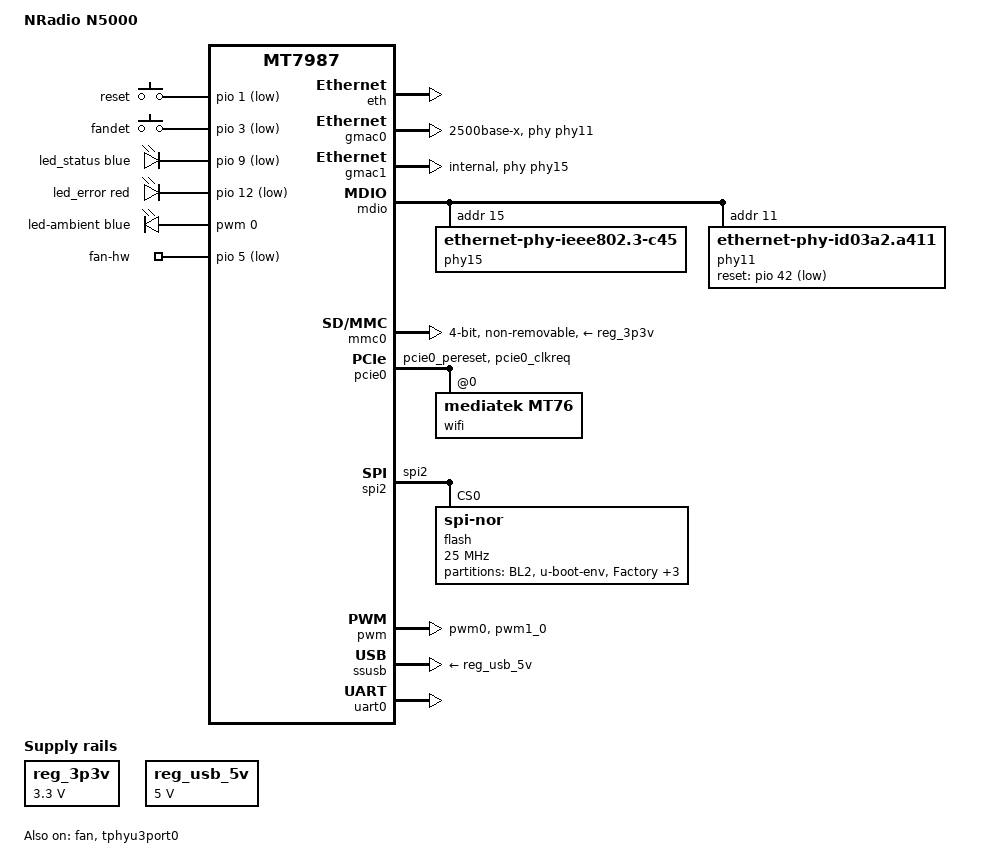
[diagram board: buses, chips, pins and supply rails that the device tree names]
// SPDX-License-Identifier: (GPL-2.0 OR MIT)
// NRadio N5000 (HC-WT9504) on official OpenWrt (MT7987A + MT7992 BE5040).
// Pinout cross-verified against the factory NROS-2.3.9.n0.c1 board DTB
// (compatible HCMT7987-SNSD): EN8811H 2.5G PHY on gmac0 as LAN/ODU, internal
// 2.5G PHY on gmac1 as WAN, PCIe Wi-Fi reset, SD pinmux, fan power/PWM,
// status/error LEDs and the fandet presence key.
// Factory image area is kept opaque ("factory-firmware") so the TF rootdisk
// remains the only writable overlay.

/dts-v1/;
#include "mt7987a.dtsi"
#include <dt-bindings/gpio/gpio.h>
#include <dt-bindings/input/input.h>
#include <dt-bindings/leds/common.h>

/ {
	model = "NRadio N5000";
	compatible = "nradio,n5000", "mediatek,mt7987a", "mediatek,mt7987";

	aliases {
		serial0 = &uart0;
		mmc0 = &mmc0;
		led-boot = &led_status;
		led-failsafe = &led_error;
		led-running = &led_status;
		led-upgrade = &led_status;
	};

	chosen {
		bootargs = "console=ttyS0,115200n1 earlycon=uart8250,mmio32,0x11000000 pci=pcie_bus_perf root=PARTLABEL=rootfs rootwait rootfstype=squashfs,f2fs";
		stdout-path = "serial0:115200n8";
	};

	gpio-keys {
		compatible = "gpio-keys";

		reset {
			label = "reset";
			linux,code = <KEY_RESTART>;
			gpios = <&pio 1 GPIO_ACTIVE_LOW>;
			debounce-interval = <10>;
		};

		fandet {
			label = "fandet";
			linux,code = <KEY_CONFIG>;
			gpios = <&pio 3 GPIO_ACTIVE_LOW>;
			debounce-interval = <10>;
		};
	};

	leds {
		compatible = "gpio-leds";

		led_status: led-status {
			color = <LED_COLOR_ID_BLUE>;
			function = LED_FUNCTION_STATUS;
			gpios = <&pio 9 GPIO_ACTIVE_LOW>;
			default-state = "on";
		};

		led_error: led-error {
			color = <LED_COLOR_ID_RED>;
			function = LED_FUNCTION_FAULT;
			gpios = <&pio 12 GPIO_ACTIVE_LOW>;
		};
	};

	pwm-leds {
		compatible = "pwm-leds";

		led-ambient {
			color = <LED_COLOR_ID_BLUE>;
			function = LED_FUNCTION_INDICATOR;
			function-enumerator = <0>;
			pwms = <&pwm 0 50000 0>;
			max-brightness = <255>;
			active-low;
			default-state = "on";
		};
	};

	reg_3p3v: regulator-3p3v {
		compatible = "regulator-fixed";
		regulator-name = "fixed-3.3V";
		regulator-min-microvolt = <3300000>;
		regulator-max-microvolt = <3300000>;
		regulator-boot-on;
		regulator-always-on;
	};

	reg_usb_5v: regulator-usb-5v {
		compatible = "regulator-fixed";
		regulator-name = "usb-5v";
		regulator-min-microvolt = <5000000>;
		regulator-max-microvolt = <5000000>;
		regulator-boot-on;
		regulator-always-on;
	};

	gpio_export {
		compatible = "gpio-export";
		#size-cells = <0>;

		fanpower {
			gpio-export,name = "fan-hw";
			gpio-export,output = <0>;
			gpios = <&pio 5 GPIO_ACTIVE_LOW>;
		};
	};
};

&cpu_trip_active_low {
	temperature = <65000>;
	hysteresis = <5000>;
};

&cpu_trip_active_med {
	temperature = <75000>;
	hysteresis = <5000>;
};

&cpu_trip_active_high {
	temperature = <85000>;
	hysteresis = <5000>;
};

&eth {
	status = "okay";
};

/* gmac0 -> EN8811H 2.5G PHY = LAN / ODU port (eth0, factory base MAC) */
&gmac0 {
	phy-mode = "2500base-x";
	phy-handle = <&phy11>;
	status = "okay";
};

/* gmac1 -> internal 2.5G PHY = WAN port (eth1, base MAC + 1) */
&gmac1 {
	phy-mode = "internal";
	phy-handle = <&phy15>;
	status = "okay";
};

&mdio {
	phy15: phy@f {
		compatible = "ethernet-phy-ieee802.3-c45";
		reg = <15>;
		phy-mode = "internal";
		pinctrl-names = "i2p5gbe-led";
		pinctrl-0 = <&i2p5gbe_led0_pins>;
	};

	phy11: phy@b {
		compatible = "ethernet-phy-id03a2.a411";
		reg = <11>;
		reset-gpios = <&pio 42 GPIO_ACTIVE_LOW>;
		reset-assert-us = <10000>;
		reset-deassert-us = <10000>;
		phy-mode = "2500base-x";
	};
};

&mmc0 {
	pinctrl-names = "default", "state_uhs";
	pinctrl-0 = <&sd_pins_default>;
	pinctrl-1 = <&sd_pins_uhs>;
	bus-width = <4>;
	max-frequency = <50000000>;
	cap-sd-highspeed;
	vmmc-supply = <&reg_3p3v>;
	vqmmc-supply = <&reg_3p3v>;
	non-removable;
	no-mmc;
	no-sdio;
	broken-cd;
	status = "okay";
};

&pcie0 {
	pinctrl-names = "default";
	pinctrl-0 = <&pcie0_1_pins>;
	wifi-reset-gpios = <&pio 38 GPIO_ACTIVE_LOW>;
	wifi-reset-msleep = <100>;
	status = "okay";

	pcie@0,0 {
		reg = <0x0000 0 0 0 0>;
		#address-cells = <3>;
		#size-cells = <2>;
		device_type = "pci";

		wifi@0,0 {
			compatible = "mediatek,mt76";
			reg = <0x0000 0 0 0 0>;
			#address-cells = <1>;
			#size-cells = <0>;
			nvmem-cells = <&eeprom_factory_0>;
			nvmem-cell-names = "eeprom";
			ieee80211-freq-limit = <2400000 2500000>,
					       <5170000 5835000>;
		};
	};
};

&pcie1 {
	status = "disabled";
};

&spi2 {
	pinctrl-names = "default";
	pinctrl-0 = <&spi2_n5000_pins>;
	status = "okay";

	flash@0 {
		compatible = "jedec,spi-nor";
		reg = <0>;
		spi-max-frequency = <25000000>;

		partitions {
			compatible = "fixed-partitions";
			#address-cells = <1>;
			#size-cells = <1>;

			partition@0 {
				label = "BL2";
				reg = <0x0 0x40000>;
				read-only;
			};

			partition@40000 {
				label = "u-boot-env";
				reg = <0x40000 0x10000>;
			};

			partition@50000 {
				label = "Factory";
				reg = <0x50000 0x100000>;
				read-only;

				nvmem-layout {
					compatible = "fixed-layout";
					#address-cells = <1>;
					#size-cells = <1>;

					eeprom_factory_0: eeprom@0 {
						reg = <0x0 0x1e00>;
					};
				};
			};

			partition@150000 {
				label = "bdinfo";
				reg = <0x150000 0x80000>;
				read-only;
			};

			partition@1d0000 {
				label = "FIP";
				reg = <0x1d0000 0x100000>;
				read-only;
			};

			partition@2d0000 {
				// Keep the vendor image opaque to OpenWrt's MTD splitter.
				// This leaves the TF rootdisk as fstools' rootfs_data.
				label = "factory-firmware";
				reg = <0x2d0000 0x1d30000>;
				read-only;
			};
		};
	};
};

&fan {
	cooling-levels = <0 80 150 255>;
	pwms = <&pwm 1 50000 0>;
	status = "okay";
};

&pwm {
	pinctrl-names = "default";
	pinctrl-0 = <&pwm_n5000_pins>;
	status = "okay";
};

&pio {
	pcie0_1_pins: pcie0-pins-g1 {
		mux {
			function = "pcie";
			groups = "pcie0_pereset", "pcie0_clkreq";
		};
	};

	pwm_n5000_pins: pwm-n5000-pins {
		mux {
			function = "pwm";
			groups = "pwm0", "pwm1_0";
		};
	};

	spi2_n5000_pins: spi2-n5000-pins {
		mux {
			function = "spi";
			groups = "spi2";
		};
	};
};

&ssusb {
	vusb33-supply = <&reg_3p3v>;
	vbus-supply = <&reg_usb_5v>;
	status = "okay";
};

&tphyu3port0 {
	status = "okay";
};

&uart0 {
	pinctrl-names = "default";
	pinctrl-0 = <&uart0_pins>;
	status = "okay";
};
